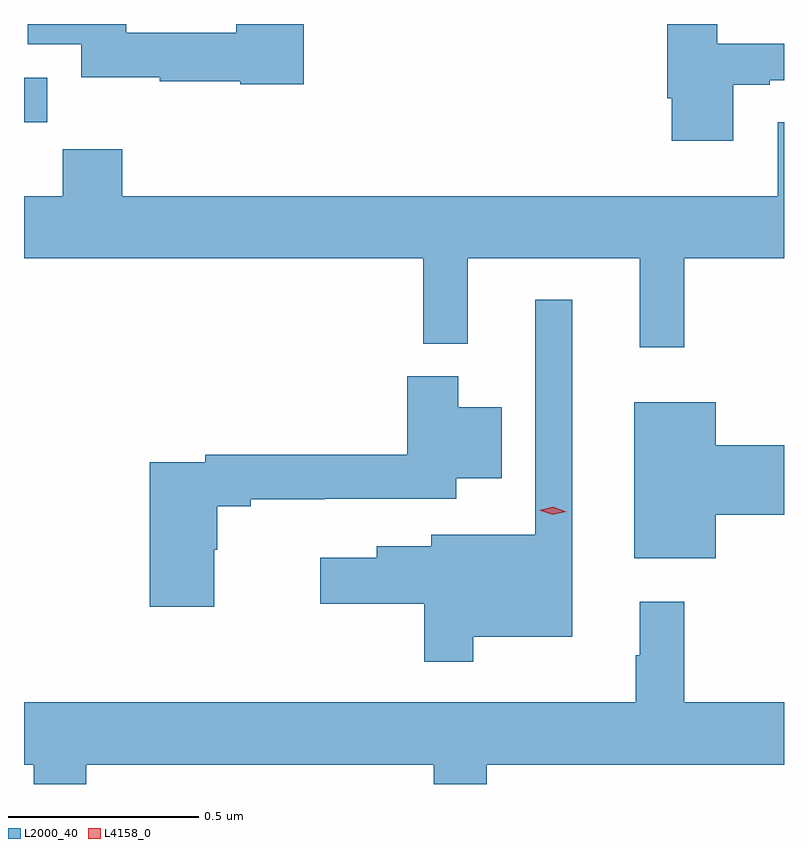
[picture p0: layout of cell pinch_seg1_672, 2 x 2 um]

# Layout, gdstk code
import gdstk
lib = gdstk.Library(unit=1e-6, precision=1e-09)
def R(c, l, rs):  # rectangles x0, y0, x1, y1
    for r in rs: c.add(gdstk.rectangle(r[:2], r[2:], *l))
def P(c, l, *ps):  # polygons
    for p in ps: c.add(gdstk.Polygon(p, *l))
L2000_40 = (2000, 40)
L4158_0 = (4158, 0)

pinch_seg1_672 = lib.new_cell('pinch_seg1_672')
R(pinch_seg1_672, L2000_40, [(826.561,580.062,826.622,580.18)])
P(pinch_seg1_672, L2000_40, [(828.427,580.161),(828.523,580.161),(828.523,580.173),(828.561,580.173),(828.561,580.269),(828.385,580.269),(828.385,580.321),(828.254,580.321),(828.254,580.126),(828.266,580.126),(828.266,580.014),(828.427,580.014)],
  [(827.297,580.321),(827.119,580.321),(827.119,580.298),(826.83,580.298),(826.83,580.321),(826.571,580.321),(826.571,580.268),(826.712,580.268),(826.712,580.181),(826.918,580.181),(826.918,580.17),(827.13,580.17),(827.13,580.162),(827.297,580.162)],
  [(828.299,579.704),(828.561,579.704),(828.561,580.063),(828.545,580.063),(828.545,579.868),(826.82,579.868),(826.82,579.992),(826.663,579.992),(826.663,579.868),(826.561,579.868),(826.561,579.704),(827.611,579.704),(827.611,579.479),(827.729,579.479),(827.729,579.704),(828.182,579.704),(828.182,579.471),(828.299,579.471)],
  [(827.743,578.708),(828.004,578.708),(828.004,579.595),(827.907,579.595),(827.907,578.977),(827.633,578.977),(827.633,578.947),(827.489,578.947),(827.489,578.917),(827.34,578.917),(827.34,578.795),(827.614,578.795),(827.614,578.643),(827.743,578.643)],
  [(827.062,578.937),(827.07,578.937),(827.07,579.052),(827.158,579.052),(827.158,579.071),(827.352,579.071),(827.352,579.072),(827.698,579.072),(827.698,579.125),(827.818,579.125),(827.818,579.313),(827.704,579.313),(827.704,579.394),(827.57,579.394),(827.57,579.188),(827.038,579.188),(827.038,579.168),(826.892,579.168),(826.892,578.787),(827.062,578.787)],
  [(828.382,579.029),(828.561,579.029),(828.561,579.212),(828.382,579.212),(828.382,579.325),(828.167,579.325),(828.167,578.915),(828.382,578.915)],
  [(826.725,578.372),(827.639,578.372),(827.639,578.321),(827.779,578.321),(827.779,578.372),(828.561,578.372),(828.561,578.536),(828.299,578.536),(828.299,578.8),(828.182,578.8),(828.182,578.66),(828.171,578.66),(828.171,578.536),(826.561,578.536),(826.561,578.372),(826.587,578.372),(826.587,578.321),(826.725,578.321)])
P(pinch_seg1_672, L4158_0, [(827.952,579.03),(827.917,579.042),(827.917,579.042),(827.917,579.042),(827.954,579.05),(827.988,579.038),(827.989,579.037),(827.988,579.037)])

lib.write_gds('pinch_seg1_672.gds')
